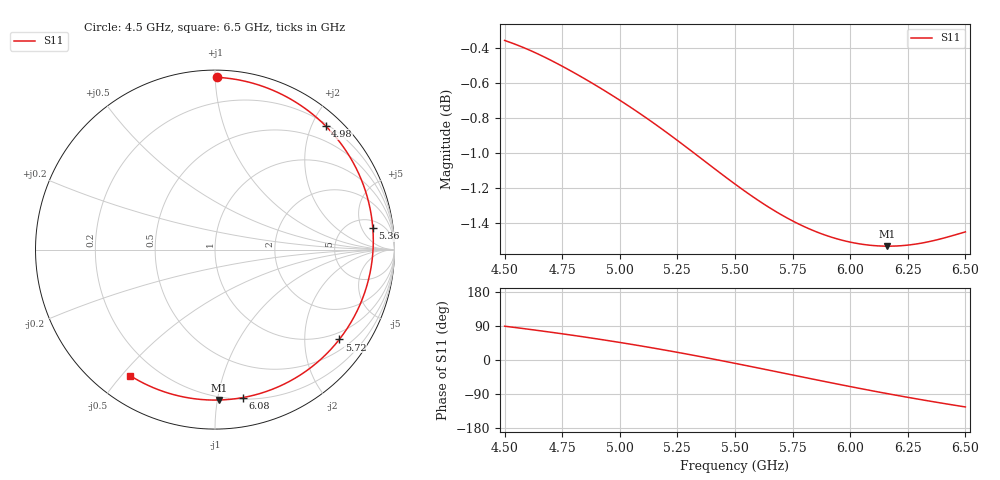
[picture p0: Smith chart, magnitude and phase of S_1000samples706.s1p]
! TOUCHSTONE file generated by CST MICROWAVE STUDIO
! Date and time: Sat Oct 29 02:33:03 2022
! Project name: L.cst
! Parameters = {Di=1.27; Epsilon_r=1.56; InnerDiameter=1.27; Length=2; Lf=10; Lg=60; OuterConductorThickness=0.2921; OuterDiameter=3.6; Wf=3; Wp=41.2; de=1.5; df=6.8; g=0.8; gx=4.3702; gy=1.99101; h=2.34; hf=1.524; px=9.92721; py=8.21968; w=9.7; wx=5.55701; wy=6.22866}
! Header version: 2018
! Port assignment regex: !\s*Touchstone port\s*([0-9]+)\s*=\s*(CST MWS port|CST DS port)\s*([0-9]+|Zmin|Zmax)\s*\(\"(.*)\"\)(\s*mode\s*([0-9]+))?.*
! Touchstone port assignment:
! Touchstone port 1 = CST MWS port 1 ("")
# GHz S DB R 50
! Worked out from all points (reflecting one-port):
!   101 points, 4.5 GHz to 6.5 GHz, reference 50 ohm
!   lowest |S11| = -1.5 dB at 6.16 GHz (marker M1), VSWR 11.37, Z = 8.94 - j50.4 ohm
!   phase of S11 starts at 89 deg and turns -213 deg over the sweep
!   S11 on the Smith chart (normalised r, x): 4.5 GHz: 0.04, +1.01; 4.98 GHz: 0.23, +2.21; 5.36 GHz: 7, +8; 5.72 GHz: 0.78, -2.90; 6.08 GHz: 0.21, -1.18; 6.5 GHz: 0.11, -0.53
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4.5  -0.36 89.2
4.58  -0.40 83.1
4.64  -0.43 78.3
4.76  -0.51 68.3
4.88  -0.60 57.7
4.98  -0.68 48.2
5  -0.70 46.3
5.06  -0.75 40.3
5.14  -0.82 32.1
5.2  -0.88 25.7
5.26  -0.94 19.1
5.36  -1.04 7.8
5.44  -1.12 -1.6
5.5  -1.18 -8.8
5.54  -1.21 -13.7
5.6  -1.27 -21.0
5.66  -1.32 -28.4
5.72  -1.37 -35.8
5.76  -1.39 -40.8
5.82  -1.43 -48.2
5.88  -1.46 -55.6
5.94  -1.49 -62.9
6  -1.51 -70.1
6.08  -1.53 -79.5
6.16  -1.53 -88.6
6.26  -1.52 -99.5
6.38  -1.49 -112.1
6.5  -1.45 -123.9
